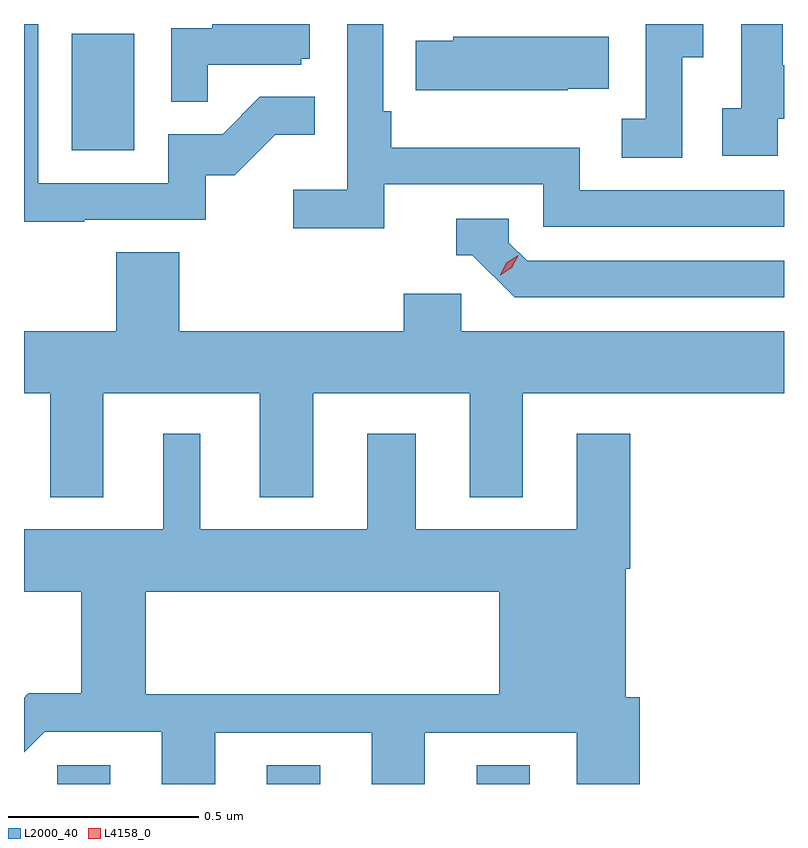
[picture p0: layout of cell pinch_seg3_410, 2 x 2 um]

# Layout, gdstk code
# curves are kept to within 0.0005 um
import gdstk
lib = gdstk.Library(unit=1e-6, precision=1e-09)
def R(c, l, rs):  # rectangles x0, y0, x1, y1
    for r in rs: c.add(gdstk.rectangle(r[:2], r[2:], *l))
def P(c, l, *ps):  # polygons
    for p in ps: c.add(gdstk.Polygon(p, *l))
L2000_40 = (2000, 40)
L4158_0 = (4158, 0)

pinch_seg3_410 = lib.new_cell('pinch_seg3_410')
R(pinch_seg3_410, L2000_40, [(948.498,689.232,948.637,689.282), (949.049,689.232,949.189,689.282), (949.601,689.232,949.741,689.282), (948.536,690.9,948.7,691.207)])
P(pinch_seg3_410, L2000_40, [(948.893,691.125),(949.14,691.125),(949.14,691.14),(949.162,691.14),(949.162,691.232),(948.905,691.232),(948.905,691.221),(948.798,691.221),(948.798,691.027),(948.893,691.027)],
  [(950.142,691.144),(950.197,691.144),(950.197,691.232),(950.046,691.232),(950.046,690.983),(949.983,690.983),(949.983,690.88),(950.142,690.88)],
  [(950.394,690.983),(950.41,690.983),(950.41,691.123),(950.407,691.123),(950.407,691.232),(950.298,691.232),(950.298,691.01),(950.247,691.01),(950.247,690.885),(950.394,690.885)],
  [(949.358,690.81),(949.776,690.81),(949.776,690.699),(950.41,690.699),(950.41,690.795),(949.872,690.795),(949.872,690.907),(949.376,690.907),(949.376,691.003),(949.356,691.003),(949.356,691.232),(949.26,691.232),(949.26,690.796),(949.119,690.796),(949.119,690.694),(949.358,690.694)],
  [(948.569,690.717),(948.888,690.717),(948.888,690.834),(948.964,690.834),(949.071,690.941),(949.175,690.941),(949.175,691.04),(949.031,691.04),(948.933,690.942),(948.789,690.942),(948.789,690.813),(948.447,690.813),(948.447,691.232),(948.41,691.232),(948.41,690.712),(948.569,690.712)],
  [(949.841,691.061),(949.949,691.061),(949.949,691.198),(949.539,691.198),(949.539,691.188),(949.441,691.188),(949.441,691.058),(949.841,691.058)],
  [(950.41,690.609),(949.734,690.609),(949.686,690.657),(949.686,690.72),(949.547,690.72),(949.547,690.624),(949.59,690.624),(949.701,690.513),(950.41,690.513)],
  [(948.619,690.26),(949.031,690.26),(949.031,689.987),(949.171,689.987),(949.171,690.26),(949.583,690.26),(949.583,689.987),(949.723,689.987),(949.723,690.26),(950.41,690.26),(950.41,690.424),(949.56,690.424),(949.56,690.522),(949.409,690.522),(949.409,690.424),(948.818,690.424),(948.818,690.632),(948.653,690.632),(948.653,690.424),(948.41,690.424),(948.41,690.26),(948.479,690.26),(948.479,689.987),(948.619,689.987)],
  [(948.41,689.315),(948.465,689.37),(948.773,689.37),(948.773,689.232),(948.913,689.232),(948.913,689.367),(949.325,689.367),(949.325,689.232),(949.465,689.232),(949.465,689.367),(949.865,689.367),(949.865,689.232),(950.03,689.232),(950.03,689.46),(949.993,689.46),(949.993,689.798),(950.006,689.798),(950.006,690.154),(949.865,690.154),(949.865,689.902),(949.441,689.902),(949.441,690.154),(949.313,690.154),(949.313,689.902),(948.874,689.902),(948.874,690.154),(948.776,690.154),(948.776,689.902),(948.41,689.902),(948.41,689.738),(948.56,689.738),(948.56,689.471),(948.422,689.471),(948.419,689.468),(948.731,689.468),(948.731,689.738),(949.661,689.738),(949.661,689.468),(948.419,689.468),(948.41,689.459)])
P(pinch_seg3_410, L4158_0, [(949.663,690.571),(949.663,690.571),(949.679,690.604),(949.71,690.623),(949.71,690.623),(949.71,690.622),(949.694,690.59),(949.663,690.571)])

lib.write_gds('pinch_seg3_410.gds')
